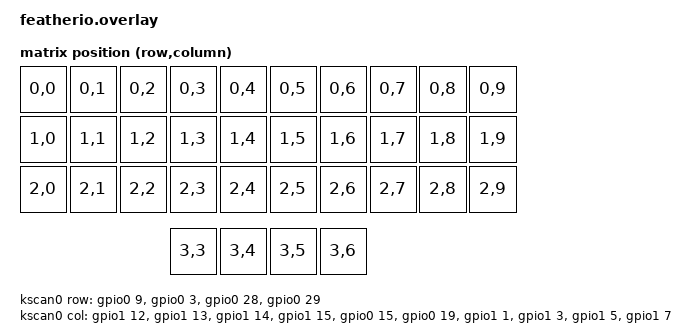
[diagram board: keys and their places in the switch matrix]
/*
 * Featherio: 34-key unibody, Seeed XIAO nRF52840 Plus (non-Sense).
 *
 * Pins come from the handoff PIN_TABLE (schematic/PCB netlist extraction).
 * The xiao_ble board definition only knows D0-D10, so the Plus-only pads
 * (D11-D19) are written as raw nRF GPIOs. Rows/cols are written raw too so
 * that every line can be checked against the pin table directly.
 *
 * Stage 4: key matrix, LPPS pointing stick (I2C P0.04/P0.05, MOTION P1.11),
 * AAAA (NiMH) cell-sense ADC on P0.02/AIN0, DYA Studio runtime modules.
 */

#include <dt-bindings/zmk/matrix_transform.h>
#include <physical_layouts.dtsi>
#include <input/processors.dtsi>

/ {
    chosen {
        zmk,kscan = &kscan0;
        zmk,physical-layout = &physical_layout;
    };

    /* 100 units = one 16.5 mm key pitch. The four centre keys (SW15/16/25/26)
     * sit 2.3 mm inboard on the PCB but are drawn on the grid by request. */
    physical_layout: physical_layout {
        compatible = "zmk,physical-layout";
        display-name = "Default";
        transform = <&default_transform>;

        keys  //                     w   h    x    y     rot    rx    ry
            = <&key_physical_attrs 100 100    0    0       0     0     0>
            , <&key_physical_attrs 100 100  100    0       0     0     0>
            , <&key_physical_attrs 100 100  200    0       0     0     0>
            , <&key_physical_attrs 100 100  300    0       0     0     0>
            , <&key_physical_attrs 100 100  400    0       0     0     0>
            , <&key_physical_attrs 100 100  500    0       0     0     0>
            , <&key_physical_attrs 100 100  600    0       0     0     0>
            , <&key_physical_attrs 100 100  700    0       0     0     0>
            , <&key_physical_attrs 100 100  800    0       0     0     0>
            , <&key_physical_attrs 100 100  900    0       0     0     0>
            , <&key_physical_attrs 100 100    0  100       0     0     0>
            , <&key_physical_attrs 100 100  100  100       0     0     0>
            , <&key_physical_attrs 100 100  200  100       0     0     0>
            , <&key_physical_attrs 100 100  300  100       0     0     0>
            , <&key_physical_attrs 100 100  400  100       0     0     0>
            , <&key_physical_attrs 100 100  500  100       0     0     0>
            , <&key_physical_attrs 100 100  600  100       0     0     0>
            , <&key_physical_attrs 100 100  700  100       0     0     0>
            , <&key_physical_attrs 100 100  800  100       0     0     0>
            , <&key_physical_attrs 100 100  900  100       0     0     0>
            , <&key_physical_attrs 100 100    0  200       0     0     0>
            , <&key_physical_attrs 100 100  100  200       0     0     0>
            , <&key_physical_attrs 100 100  200  200       0     0     0>
            , <&key_physical_attrs 100 100  300  200       0     0     0>
            , <&key_physical_attrs 100 100  400  200       0     0     0>
            , <&key_physical_attrs 100 100  500  200       0     0     0>
            , <&key_physical_attrs 100 100  600  200       0     0     0>
            , <&key_physical_attrs 100 100  700  200       0     0     0>
            , <&key_physical_attrs 100 100  800  200       0     0     0>
            , <&key_physical_attrs 100 100  900  200       0     0     0>
            , <&key_physical_attrs 100 100  300  324       0     0     0>
            , <&key_physical_attrs 100 100  400  324       0     0     0>
            , <&key_physical_attrs 100 100  500  324       0     0     0>
            , <&key_physical_attrs 100 100  600  324       0     0     0>
            ;
    };

    /* Keymap index 0..33 = SW1..SW34. Not the mirrored aerogu34 transform. */
    default_transform: default_transform {
        compatible = "zmk,matrix-transform";
        columns = <10>;
        rows = <4>;
        map = <
            RC(0,0) RC(0,1) RC(0,2) RC(0,3) RC(0,4) RC(0,5) RC(0,6) RC(0,7) RC(0,8) RC(0,9)
            RC(1,0) RC(1,1) RC(1,2) RC(1,3) RC(1,4) RC(1,5) RC(1,6) RC(1,7) RC(1,8) RC(1,9)
            RC(2,0) RC(2,1) RC(2,2) RC(2,3) RC(2,4) RC(2,5) RC(2,6) RC(2,7) RC(2,8) RC(2,9)
                                    RC(3,3) RC(3,4) RC(3,5) RC(3,6)
        >;
    };

    kscan0: kscan0 {
        compatible = "zmk,kscan-gpio-matrix";
        diode-direction = "col2row";
        wakeup-source;

        row-gpios
            = <&gpio0 9  (GPIO_ACTIVE_HIGH | GPIO_PULL_DOWN)>  /* Row0  D14 / NFC1 */
            , <&gpio0 3  (GPIO_ACTIVE_HIGH | GPIO_PULL_DOWN)>  /* Row1  D1 */
            , <&gpio0 28 (GPIO_ACTIVE_HIGH | GPIO_PULL_DOWN)>  /* Row2  D2 */
            , <&gpio0 29 (GPIO_ACTIVE_HIGH | GPIO_PULL_DOWN)>  /* Row3  D3 */
            ;

        col-gpios
            = <&gpio1 12 GPIO_ACTIVE_HIGH>  /* Col0  D7 */
            , <&gpio1 13 GPIO_ACTIVE_HIGH>  /* Col1  D8 */
            , <&gpio1 14 GPIO_ACTIVE_HIGH>  /* Col2  D9 */
            , <&gpio1 15 GPIO_ACTIVE_HIGH>  /* Col3  D10 */
            , <&gpio0 15 GPIO_ACTIVE_HIGH>  /* Col4  D11 */
            , <&gpio0 19 GPIO_ACTIVE_HIGH>  /* Col5  D12 */
            , <&gpio1 1  GPIO_ACTIVE_HIGH>  /* Col6  D13 */
            , <&gpio1 3  GPIO_ACTIVE_HIGH>  /* Col7  D17 */
            , <&gpio1 5  GPIO_ACTIVE_HIGH>  /* Col8  D18 */
            , <&gpio1 7  GPIO_ACTIVE_HIGH>  /* Col9  D19 */
            ;
    };
};

/* Row0 is on P0.09 (NFC1): release the NFC pins to GPIO. */
&uicr {
    nfct-pins-as-gpios;
};

/* Board defaults that would claim matrix / LPPS pins. */
&uart0 { status = "disabled"; };  /* D6/D7 = LPPS MOTION / Col0 */
&spi2  { status = "disabled"; };  /* D8-D10 = Col1-Col3 */

/*
 * LPPS (sekigon low-power pointing stick) on the board's i2c1 pins:
 * SDA = P0.04 (D4), SCL = P0.05 (D5), already selected by i2c1_default.
 * Address, bus speed and the plain GPIO_PULL_UP on MOTION follow the driver
 * author's example; the driver tests the physical level itself, so do not
 * add GPIO_ACTIVE_LOW. FPC pin 1 is hard-wired 3V3: no power-gpios.
 */
&i2c1 {
    status = "okay";
    compatible = "nordic,nrf-twim";
    clock-frequency = <I2C_BITRATE_FAST>;

    lpps: lpps@57 {
        status = "okay";
        compatible = "lpps";
        reg = <0x57>;
        irq-gpios = <&gpio1 11 GPIO_PULL_UP>;  /* MOTION  D6 */
    };
};

/*
 * Included here, after the matrix transform: these pull in keys.h, whose
 * RC() (right-control modifier) replaces the transform's RC(row,col).
 */
#include <behaviors.dtsi>
#include <behaviors/battery_history_request.dtsi>
#include <input/processors/runtime-input-processor.dtsi>
#include <dt-bindings/zmk/runtime_input_processor.h>

/*
 * Pointer tuning lives in the DYA Studio runtime processors so the Studio
 * pointing tab can change it; these are the flashed defaults. Values saved
 * from Studio override them until settings are reset.
 *
 * Mouse: the stick's raw Y is upside down on this board (checked on the real
 * unit), X is correct, raw speed is right at 1:1. Movement turns on the
 * Mouse layer (4) at once and it drops 1 s after the stick goes idle, as on
 * aerogu34.
 */
&mouse_runtime_input_processor {
    y-invert;
    temp-layer-enabled;
    temp-layer = <4>;
    temp-layer-activation-delay-ms = <0>;
    temp-layer-deactivation-delay-ms = <1000>;
};

/*
 * Scroll: only on the Scroll layer (3). It runs after the mouse processor,
 * so Y is inverted back: raw +Y is "up", the wheel's positive direction.
 * 1/10 was checked by feel on the real unit. Y-axis snap as on aerogu34;
 * its threshold is still the aerogu34 (PAW3222) value.
 */
&scroll_runtime_input_processor {
    processor-label = "scroll";
    x-codes = <INPUT_REL_X>;
    y-codes = <INPUT_REL_Y>;
    xy-to-scroll-enabled;
    y-invert;
    scale-multiplier = <1>;
    scale-divisor = <10>;
    active-layers = <8>;  /* BIT(3) */
    axis-snap-mode = <AXIS_SNAP_MODE_Y>;
    axis-snap-threshold = <200>;
};

/ {
    /*
     * Deadzone in front of everything, so stick drift neither moves the
     * pointer nor turns on the Mouse layer. Seen on the real unit: an idle,
     * slightly drifting stick reports x/y of +-1 about every 100 ms, i.e.
     * 2 counts per report. Reports must add up to `threshold` counts with no
     * gap longer than `timeout-ms` before movement passes; the gap is kept
     * below the drift interval so drift never accumulates. First guess, not
     * yet tuned by feel. Not adjustable from Studio.
     */
    lpps_deadzone: lpps_deadzone {
        compatible = "zmk,input-processor-deadzone";
        #input-processor-cells = <0>;
        threshold = <6>;
        timeout-ms = <80>;
    };

    lpps_listener: lpps_listener {
        compatible = "zmk,input-listener";
        device = <&lpps>;
        input-processors = <&lpps_deadzone
                            &mouse_runtime_input_processor
                            &scroll_runtime_input_processor>;
    };
};

/*
 * The board adds a USB CDC ACM port for the console. DYA Studio needs the
 * Studio RPC port (studio-rpc-usb-uart snippet) to be the only one.
 */
&board_cdc_acm_uart { status = "disabled"; };

/*
 * Battery, AAAA module profile (NiMH cell).
 * The module feeds the cell voltage (after the reverse-protection FET) to
 * P0.02/AIN0 through 1 MOhm / 470 kOhm. The board's own divider on AIN7 sees
 * the 3.3 V boost output and says nothing about the cell, so the board's
 * vbatt node is repointed rather than adding a second one. No enable GPIO
 * exists for this divider, and P0.02 must stay free of pulls.
 *
 * Thresholds are the cell mV at 0,10,...,100 %: a provisional NiMH discharge
 * shape ending at the module's ~1.0 V hardware cut-off. Not yet checked
 * against a meter. A LiPo module leaves P0.02 floating and needs the board
 * default instead of this block.
 */
&vbatt {
    io-channels = <&adc 0>;
    /delete-property/ power-gpios;
    output-ohms = <470000>;
    full-ohms = <(1000000 + 470000)>;
    mv-to-pct-thresholds = <1000 1120 1170 1195 1210 1225 1240 1255 1275 1305 1380>;
};
